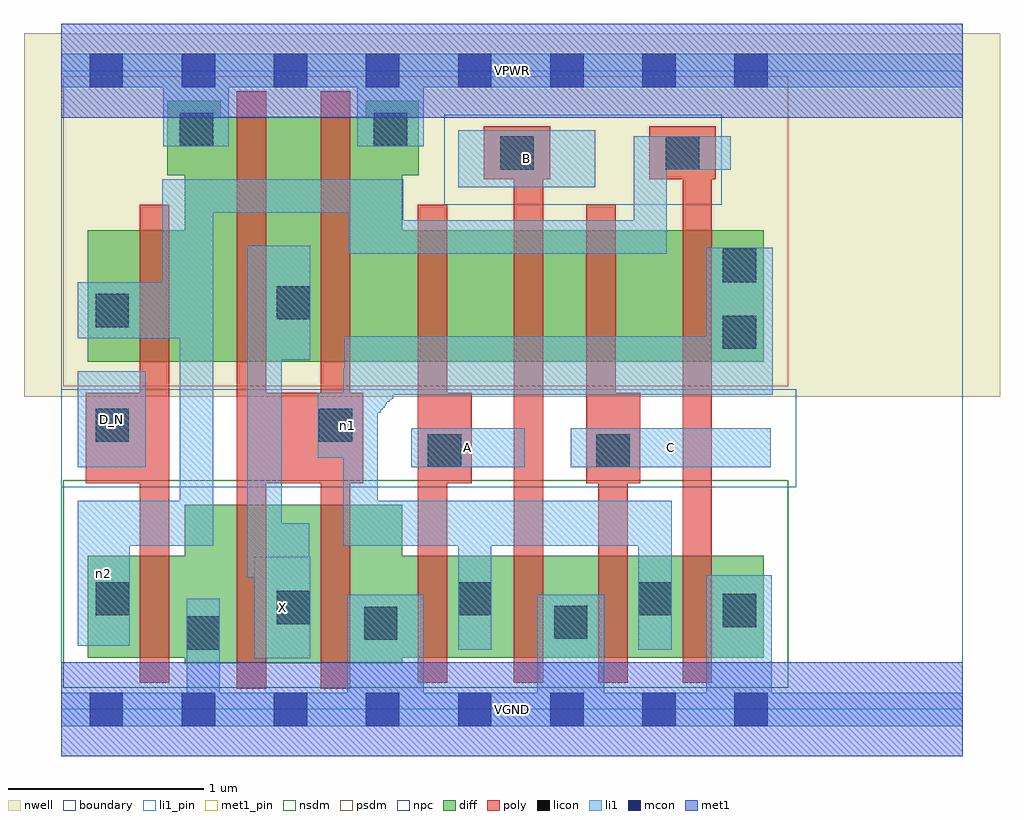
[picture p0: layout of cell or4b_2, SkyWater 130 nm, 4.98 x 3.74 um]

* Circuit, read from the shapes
.subckt or4b_2 A B C D_N VGND VPWR X n1 n2
XM1 VGND D_N n2 VSUBS sky130_fd_pr__nfet_01v8 w=0.52 l=0.15
XM2 X n1 VGND VSUBS sky130_fd_pr__nfet_01v8 w=0.81 l=0.15 m=2
XM3 n1 A VGND VSUBS sky130_fd_pr__nfet_01v8 w=0.52 l=0.15
XM4 VGND B n1 VSUBS sky130_fd_pr__nfet_01v8 w=0.52 l=0.15
XM5 n1 C VGND VSUBS sky130_fd_pr__nfet_01v8 w=0.52 l=0.15
XM6 VGND n2 n1 VSUBS sky130_fd_pr__nfet_01v8 w=0.52 l=0.15
XM7 VPWR D_N n2 n3 sky130_fd_pr__pfet_01v8 w=0.67 l=0.15
XM8 X n1 VPWR n3 sky130_fd_pr__pfet_01v8 w=1.25 l=0.15 m=2
XM9 n4 A VPWR n3 sky130_fd_pr__pfet_01v8 w=0.67 l=0.15
XM10 n5 B n4 n3 sky130_fd_pr__pfet_01v8 w=0.67 l=0.15
XM11 n6 C n5 n3 sky130_fd_pr__pfet_01v8 w=0.67 l=0.15
XM12 n1 n2 n6 n3 sky130_fd_pr__pfet_01v8 w=0.67 l=0.15
.ends

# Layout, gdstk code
import gdstk
lib = gdstk.Library(unit=1e-6, precision=1e-09)
def R(c, l, rs):  # rectangles x0, y0, x1, y1
    for r in rs: c.add(gdstk.rectangle(r[:2], r[2:], *l))
def A(c, l, x, y, w, h, nx, ny, dx, dy):  # array of equal rectangles
    R(c, l, [(x+i*dx, y+j*dy, x+i*dx+w, y+j*dy+h) for i in range(nx) for j in range(ny)])
nwell = (64, 20)
diff = (65, 20)
poly = (66, 20)
licon = (66, 44)
li1_pin = (67, 16)
li1 = (67, 20)
mcon = (67, 44)
met1_pin = (68, 16)
met1 = (68, 20)
nsdm = (93, 44)
psdm = (94, 20)
npc = (95, 20)
boundary = (235, 4)

or4b_2 = lib.new_cell('or4b_2')
R(or4b_2, nwell, [(-0.19,1.595,4.79,3.45), (0,1.595,4.6,3.45)])
R(or4b_2, diff, [(0.63,0.235,1.74,1.045), (0.135,0.265,3.585,0.785), (0.135,1.775,3.585,2.445), (0.63,1.775,1.74,3.025), (0.54,2.725,1.825,3.025), (0.54,2.725,0.815,3.105), (1.555,2.725,1.825,3.105)])
R(or4b_2, poly, [(0.895,0.105,1.045,3.155), (1.325,0.105,1.475,3.155), (0.4,0.135,0.55,2.575), (1.82,0.135,1.97,2.575), (2.31,0.135,2.46,2.975), (2.74,0.135,2.89,1.615), (3.17,0.135,3.32,2.975), (0.125,1.155,0.55,1.615), (0.895,1.155,1.54,1.615), (1.82,1.155,2.095,1.615), (2.68,1.155,2.955,1.615), (2.68,1.155,2.83,2.575), (2.155,2.705,2.495,2.975), (3,2.705,3.34,2.975)])
R(or4b_2, licon, [(0.64,0.305,0.81,0.475), (1.545,0.355,1.715,0.525), (2.515,0.36,2.685,0.53), (3.375,0.42,3.545,0.59), (1.1,0.435,1.27,0.605), (0.175,0.48,0.345,0.65), (2.025,0.48,2.195,0.65), (2.945,0.48,3.115,0.65), (1.87,1.235,2.04,1.405), (2.73,1.235,2.9,1.405), (0.175,1.365,0.345,1.535), (1.315,1.365,1.485,1.535), (3.375,1.84,3.545,2.01), (0.175,1.95,0.345,2.12), (1.1,1.99,1.27,2.16), (3.375,2.18,3.545,2.35), (2.24,2.755,2.41,2.925), (3.085,2.755,3.255,2.925), (0.605,2.875,0.775,3.045), (1.595,2.875,1.765,3.045)])
R(or4b_2, li1_pin, [(0.985,0.26,1.27,0.78), (0.085,1.235,0.43,1.725), (1.785,1.235,2.365,1.435), (2.6,1.235,3.62,1.435), (2.025,2.665,2.725,2.955)])
R(or4b_2, li1, [(0,-0.085,4.6,0.085), (0.64,-0.085,0.81,0.565), (1.46,-0.085,1.85,0.585), (2.43,-0.085,2.77,0.585), (3.29,-0.085,3.625,0.685), (0.985,0.26,1.27,0.78), (2.025,0.305,2.195,1.065), (2.945,0.305,3.115,1.065), (0.085,0.325,0.35,1.065), (0.95,0.675,1.125,2.365), (0.95,0.675,1.265,0.95), (0.085,0.835,0.775,1.065), (0.605,0.835,0.775,2.705), (1.44,0.835,3.115,1.065), (1.44,0.835,1.615,1.74), (0.085,1.235,0.43,1.725), (1.785,1.235,2.365,1.435), (2.6,1.235,3.62,1.435), (1.31,1.285,1.615,1.615), (1.445,1.515,1.63,1.905), (1.445,1.53,1.64,1.905), (1.445,1.54,1.65,1.905), (1.445,1.55,1.655,1.905), (1.445,1.56,1.66,1.905), (1.445,1.57,1.675,1.905), (1.445,1.58,1.685,1.905), (1.445,1.585,1.695,1.905), (1.445,1.605,3.63,1.905), (3.29,1.605,3.63,2.355), (0.95,1.785,1.27,2.365), (0.085,1.895,0.775,2.18), (0.515,1.895,0.775,2.705), (1.465,2.325,3.09,2.495), (1.465,2.325,1.745,2.705), (2.92,2.325,3.09,2.925), (0.515,2.535,1.745,2.705), (2.025,2.665,2.725,2.955), (2.92,2.755,3.415,2.925), (0.52,2.875,0.855,3.345), (1.51,2.875,1.85,3.345), (0,3.175,4.6,3.345)])
A(or4b_2, mcon, 0.145, -0.085, 0.17, 0.17, 8, 2, 0.47, 3.26)
R(or4b_2, met1_pin, [(0,-0.24,4.6,0.24), (0,3.02,4.6,3.5)])
R(or4b_2, met1, [(0,-0.24,4.6,0.24), (0,3.02,4.6,3.5)])
R(or4b_2, nsdm, [(0.01,0.11,3.71,1.17)])
R(or4b_2, psdm, [(0.01,1.65,3.71,3.23)])
R(or4b_2, npc, [(0,1.135,3.75,1.635), (1.955,2.575,3.37,3.035)])
R(or4b_2, boundary, [(0,0,4.6,3.26)])
or4b_2.add(gdstk.Label('A', (2.075,1.335), layer=67, texttype=5))
or4b_2.add(gdstk.Label('B', (2.375,2.81), layer=67, texttype=5))
or4b_2.add(gdstk.Label('C', (3.11,1.335), layer=67, texttype=5))
or4b_2.add(gdstk.Label('D_N', (0.257,1.48), layer=67, texttype=5))
or4b_2.add(gdstk.Label('X', (1.127,0.52), layer=67, texttype=5))
or4b_2.add(gdstk.Label('n1', (1.462,1.45), layer=67, texttype=5))
or4b_2.add(gdstk.Label('n2', (0.217,0.695), layer=67, texttype=5))
or4b_2.add(gdstk.Label('VPWR', (2.3,3.26), layer=68, texttype=5))
or4b_2.add(gdstk.Label('VGND', (2.3,0), layer=68, texttype=5))
or4b_2.add(gdstk.Label('A', (2.075,1.335), layer=67, texttype=16))
or4b_2.add(gdstk.Label('B', (2.375,2.81), layer=67, texttype=16))
or4b_2.add(gdstk.Label('C', (3.11,1.335), layer=67, texttype=16))
or4b_2.add(gdstk.Label('D_N', (0.257,1.48), layer=67, texttype=16))
or4b_2.add(gdstk.Label('X', (1.127,0.52), layer=67, texttype=16))
or4b_2.add(gdstk.Label('VPWR', (2.3,3.26), layer=68, texttype=16))
or4b_2.add(gdstk.Label('VGND', (2.3,0), layer=68, texttype=16))

lib.write_gds('or4b_2.gds')
